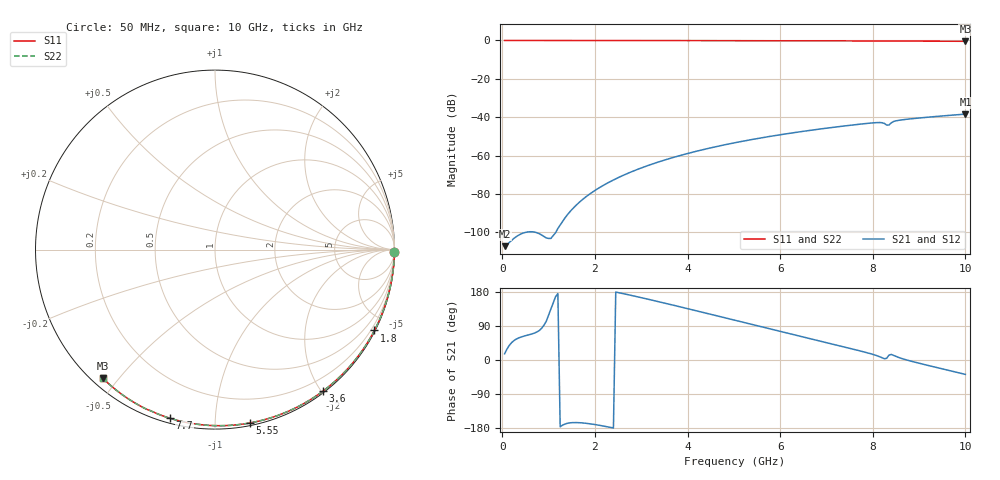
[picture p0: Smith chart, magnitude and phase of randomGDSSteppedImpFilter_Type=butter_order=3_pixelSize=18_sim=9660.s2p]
! freq	dB(S11)	phase(S11)	dB(S12)	phase(S12)
!  dB(S21)	phase(S21)	dB(S22)	phase(S22)
!S-par simulation data
#  GHz  S  DB  R 50
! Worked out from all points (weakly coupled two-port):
!   200 points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, 50 MHz to 10 GHz, reference 50 ohm
!   highest |S21| = -38.40 dB at 10 GHz (marker M1); lowest = -107.2 dB at 50 MHz (marker M2)
!   lowest |S11| = -0.4 dB at 10 GHz (marker M3), VSWR 39.64, Z = 1.52 - j22.7 ohm
!   |S11| at or under -10 dB: nowhere
!   |S22| runs from -0.4 to 0.0 dB; largest |S21 - S12| = 0
!   S11 on the Smith chart (normalised r, x): 50 MHz: open; 1.8 GHz: 0.04, -4.18; 3.6 GHz: 0.02, -2.02; 5.55 GHz: 0.02, -1.22; 7.7 GHz: 0.02, -0.77; 10 GHz: 0.03, -0.45
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0.05  -0.00 -0.8  -107.18 16.3  -107.18 16.3  -0.00 -0.8
0.9  -0.02 -13.6  -102.15 92.0  -102.15 92.0  -0.02 -13.6
1.75  -0.03 -26.1  -82.53 -166.2  -82.53 -166.2  -0.03 -26.1
1.8  -0.03 -26.9  -81.57 -166.9  -81.57 -166.9  -0.03 -26.9
1.9  -0.04 -28.3  -79.80 -168.5  -79.80 -168.5  -0.04 -28.3
2.25  -0.04 -33.4  -74.57 -175.8  -74.57 -175.8  -0.04 -33.4
2.65  -0.05 -39.2  -69.85 174.1  -69.85 174.1  -0.05 -39.2
3  -0.06 -44.2  -66.44 164.6  -66.44 164.6  -0.06 -44.2
3.4  -0.07 -49.8  -63.10 153.2  -63.10 153.2  -0.07 -49.8
3.6  -0.07 -52.6  -61.60 147.4  -61.60 147.4  -0.07 -52.6
4.3  -0.09 -62.1  -57.08 126.6  -57.08 126.6  -0.09 -62.1
5.05  -0.11 -72.1  -53.15 104.0  -53.15 104.0  -0.11 -72.1
5.55  -0.13 -78.5  -50.93 88.9  -50.93 88.9  -0.13 -78.5
6.7  -0.18 -92.9  -46.66 54.6  -46.66 54.6  -0.18 -92.9
7.7  -0.24 -104.9  -43.68 24.8  -43.68 24.8  -0.24 -104.9
8.15  -0.28 -110.1  -42.76 8.6  -42.76 8.6  -0.28 -110.1
8.25  -0.29 -111.3  -43.23 3.4  -43.23 3.4  -0.29 -111.3
8.3  -0.29 -111.8  -44.08 4.4  -44.08 4.4  -0.29 -111.8
8.35  -0.29 -112.3  -44.06 12.9  -44.06 12.9  -0.29 -112.3
8.45  -0.29 -113.5  -42.23 12.1  -42.23 12.1  -0.29 -113.5
8.6  -0.30 -115.3  -41.46 5.0  -41.46 5.0  -0.30 -115.3
10  -0.44 -131.2  -38.40 -38.0  -38.40 -38.0  -0.44 -131.2
